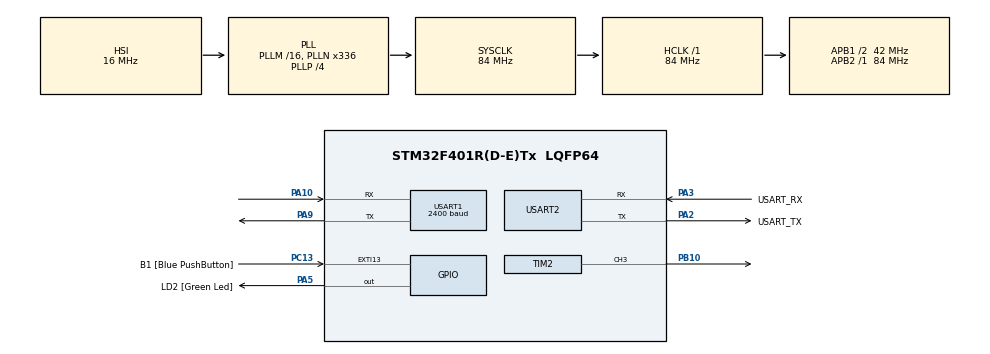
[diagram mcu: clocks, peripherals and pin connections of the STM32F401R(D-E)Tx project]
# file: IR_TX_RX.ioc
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Mcu.Family=STM32F4
Mcu.Name=STM32F401R(D-E)Tx
Mcu.Package=LQFP64
NVIC.PriorityGroup=NVIC_PRIORITYGROUP_4
NVIC.TIM1_UP_TIM10_IRQn=true\:0\:0\:false\:false\:true\:true\:true\:true
NVIC.USART1_IRQn=true\:0\:0\:false\:false\:true\:true\:true\:true
NVIC.USART2_IRQn=true\:0\:0\:false\:false\:true\:true\:true\:true
PA10.Mode=Asynchronous
PA10.Signal=USART1_RX
PA13.GPIO_Label=TMS
PA13.Mode=Trace_Asynchronous_SW
PA13.Signal=SYS_JTMS-SWDIO
PA14.GPIO_Label=TCK
PA14.Mode=Trace_Asynchronous_SW
PA14.Signal=SYS_JTCK-SWCLK
PA2.GPIO_Label=USART_TX
PA2.GPIO_Mode=GPIO_MODE_AF_PP
PA2.GPIO_PuPd=GPIO_NOPULL
PA2.GPIO_Speed=GPIO_SPEED_FREQ_LOW
PA2.Mode=Asynchronous
PA2.Signal=USART2_TX
PA3.GPIO_Label=USART_RX
PA3.GPIO_Mode=GPIO_MODE_AF_PP
PA3.GPIO_PuPd=GPIO_NOPULL
PA3.GPIO_Speed=GPIO_SPEED_FREQ_LOW
PA3.Mode=Asynchronous
PA3.Signal=USART2_RX
PA5.GPIO_Label=LD2 [Green Led]
PA5.GPIO_Mode=GPIO_MODE_OUTPUT_PP
PA5.GPIO_PuPd=GPIO_NOPULL
PA5.GPIO_Speed=GPIO_SPEED_FREQ_LOW
PA5.Signal=GPIO_Output
PA9.Mode=Asynchronous
PA9.Signal=USART1_TX
PB10.Signal=S_TIM2_CH3
PB3.GPIO_Label=SWO
PB3.Mode=Trace_Asynchronous_SW
PB3.Signal=SYS_JTDO-SWO
PC13-ANTI_TAMP.GPIO_Label=B1 [Blue PushButton]
PC13-ANTI_TAMP.GPIO_ModeDefaultEXTI=GPIO_MODE_IT_FALLING
PC13-ANTI_TAMP.GPIO_PuPd=GPIO_NOPULL
PC13-ANTI_TAMP.Signal=GPXTI13
PC14-OSC32_IN.Mode=LSE-External-Oscillator
PC14-OSC32_IN.Signal=RCC_OSC32_IN
PC15-OSC32_OUT.Mode=LSE-External-Oscillator
PC15-OSC32_OUT.Signal=RCC_OSC32_OUT
PH0\ -\ OSC_IN.Mode=HSE-External-Clock-Source
PH0\ -\ OSC_IN.Signal=RCC_OSC_IN
PH1\ -\ OSC_OUT.Mode=HSE-External-Clock-Source
PH1\ -\ OSC_OUT.Signal=RCC_OSC_OUT
ProjectManager.HeapSize=0x200
ProjectManager.StackSize=0x400
ProjectManager.TargetToolchain=STM32CubeIDE
RCC.48MHZClocksFreq_Value=48000000
RCC.AHBFreq_Value=84000000
RCC.APB1CLKDivider=RCC_HCLK_DIV2
RCC.APB1Freq_Value=42000000
RCC.APB1TimFreq_Value=84000000
RCC.APB2Freq_Value=84000000
RCC.APB2TimFreq_Value=84000000
RCC.CortexFreq_Value=84000000
RCC.HCLKFreq_Value=84000000
RCC.HSE_VALUE=8000000
RCC.HSI_VALUE=16000000
RCC.PLLN=336
RCC.PLLP=RCC_PLLP_DIV4
RCC.PLLQ=7
RCC.SYSCLKFreq_VALUE=84000000
RCC.SYSCLKSource=RCC_SYSCLKSOURCE_PLLCLK
RCC.VCOOutputFreq_Value=336000000
SH.S_TIM2_CH3.0=TIM2_CH3,PWM Generation3 CH3
TIM10.Period=3500-1
TIM10.Prescaler=10-1
TIM2.AutoReloadPreload=TIM_AUTORELOAD_PRELOAD_DISABLE
TIM2.Channel-PWM\ Generation3\ CH3=TIM_CHANNEL_3
TIM2.Period=2210
TIM2.Prescaler=0
TIM2.Pulse-PWM\ Generation3\ CH3=1105
USART1.BaudRate=2400
USART1.VirtualMode=VM_ASYNC
USART2.VirtualMode=VM_ASYNC
VP_TIM10_VS_ClockSourceINT.Mode=Enable_Timer
VP_TIM2_VS_ClockSourceINT.Mode=Internal
board=NUCLEO-F401RE

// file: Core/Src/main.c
/* USER CODE BEGIN Header */
/**
  ******************************************************************************
  * @file           : main.c
  * @brief          : Main program body
  ******************************************************************************
  * @attention
  *
  * Copyright (c) 2025 STMicroelectronics.
  * All rights reserved.
  *
  * This software is licensed under terms that can be found in the LICENSE file
  * in the root directory of this software component.
  * If no LICENSE file comes with this software, it is provided AS-IS.
  *
  ******************************************************************************
  */
/* USER CODE END Header */
#include "main.h"

TIM_HandleTypeDef htim2;
TIM_HandleTypeDef htim10;

UART_HandleTypeDef huart1;
UART_HandleTypeDef huart2;

void SystemClock_Config(void);
static void MX_GPIO_Init(void);
static void MX_USART2_UART_Init(void);
static void MX_TIM2_Init(void);
static void MX_USART1_UART_Init(void);
static void MX_TIM10_Init(void);
/* USER CODE BEGIN PFP */
char string[64] = {0}; // Where the character will be stored and outputted
char RX_byte, RX_byte2 = 0; // Received bytes
uint8_t BaudElapsedFlag = 0; // Check if the bit has been sent (during baud duration)
int IR_send = 0;
/* USER CODE END PFP */

/* USER CODE BEGIN 0 */
void HAL_TIM_PeriodElapsedCallback(TIM_HandleTypeDef *htim) {
	if (htim == &htim10)
		BaudElapsedFlag = 1; // Baudrate of 2400 Hz
}

void UART_IR_sendByte(char byte) {
	HAL_TIM_Base_Start_IT(&htim10); // Start the timer10 to control the baudrate
	HAL_TIM_PWM_Start(&htim2, TIM_CHANNEL_3); // send start bit
	BaudElapsedFlag = 0;
	while (BaudElapsedFlag == 0); // Wait the correct baudrate elapse time
	for (int bit_ctr = 0; bit_ctr < 8; bit_ctr++) { // for each bit of the data byte
		if ((byte & (0x01 << bit_ctr)) == 0) // select the correct bit, if is 0 send a 1 with the PWM Start
			HAL_TIM_PWM_Start(&htim2, TIM_CHANNEL_3); // send a 0
		else HAL_TIM_PWM_Stop(&htim2, TIM_CHANNEL_3); // send a 1

		BaudElapsedFlag = 0;
		while (BaudElapsedFlag == 0); // Wait the correct baudrate elapse time
	}

	HAL_TIM_PWM_Stop(&htim2, TIM_CHANNEL_3); // stop bit
	while (BaudElapsedFlag == 0);
	HAL_TIM_Base_Stop_IT(&htim10); // Stop the timer10
	BaudElapsedFlag = 0;
}

void HAL_UART_RxCpltCallback(UART_HandleTypeDef *huart) {
	if (huart == &huart1) {
		HAL_UART_Receive_IT(&huart1, &RX_byte, 1);
		sprintf(&string, "%c", RX_byte);
		HAL_UART_Transmit_IT(&huart2, string, 1);
	}

	if (huart == &huart2) {
		HAL_UART_Receive_IT(&huart2, &RX_byte2, 1);
		IR_send = 1;
	}
}
/* USER CODE END 0 */

int main(void)
{

  /* MCU Configuration--------------------------------------------------------*/

  /* Reset of all peripherals, Initializes the Flash interface and the Systick. */
  HAL_Init();

  /* Configure the system clock */
  SystemClock_Config();

  /* Initialize all configured peripherals */
  MX_GPIO_Init();
  MX_USART2_UART_Init();
  MX_TIM2_Init();
  MX_USART1_UART_Init();
  MX_TIM10_Init();
  /* USER CODE BEGIN 2 */
  HAL_UART_Receive_IT(&huart1, &RX_byte, 1); // Prepare the UART1 to receive data
  HAL_UART_Receive_IT(&huart2, &RX_byte2, 1);
  /* USER CODE END 2 */

  /* Infinite loop */
  /* USER CODE BEGIN WHILE */
  while (1)
  {
	if (IR_send) {
		IR_send = 0;
		UART_IR_sendByte(RX_byte2);
	}
    /* USER CODE END WHILE */

  }
}

void SystemClock_Config(void)
{
  RCC_OscInitTypeDef RCC_OscInitStruct = {0};
  RCC_ClkInitTypeDef RCC_ClkInitStruct = {0};

  /** Configure the main internal regulator output voltage
  */
  __HAL_RCC_PWR_CLK_ENABLE();
  __HAL_PWR_VOLTAGESCALING_CONFIG(PWR_REGULATOR_VOLTAGE_SCALE2);

  /** Initializes the RCC Oscillators according to the specified parameters
  * in the RCC_OscInitTypeDef structure.
  */
  RCC_OscInitStruct.OscillatorType = RCC_OSCILLATORTYPE_HSI;
  RCC_OscInitStruct.HSIState = RCC_HSI_ON;
  RCC_OscInitStruct.HSICalibrationValue = RCC_HSICALIBRATION_DEFAULT;
  RCC_OscInitStruct.PLL.PLLState = RCC_PLL_ON;
  RCC_OscInitStruct.PLL.PLLSource = RCC_PLLSOURCE_HSI;
  RCC_OscInitStruct.PLL.PLLM = 16;
  RCC_OscInitStruct.PLL.PLLN = 336;
  RCC_OscInitStruct.PLL.PLLP = RCC_PLLP_DIV4;
  RCC_OscInitStruct.PLL.PLLQ = 7;
  if (HAL_RCC_OscConfig(&RCC_OscInitStruct) != HAL_OK)
  {
    Error_Handler();
  }

  /** Initializes the CPU, AHB and APB buses clocks
  */
  RCC_ClkInitStruct.ClockType = RCC_CLOCKTYPE_HCLK|RCC_CLOCKTYPE_SYSCLK
                              |RCC_CLOCKTYPE_PCLK1|RCC_CLOCKTYPE_PCLK2;
  RCC_ClkInitStruct.SYSCLKSource = RCC_SYSCLKSOURCE_PLLCLK;
  RCC_ClkInitStruct.AHBCLKDivider = RCC_SYSCLK_DIV1;
  RCC_ClkInitStruct.APB1CLKDivider = RCC_HCLK_DIV2;
  RCC_ClkInitStruct.APB2CLKDivider = RCC_HCLK_DIV1;

  if (HAL_RCC_ClockConfig(&RCC_ClkInitStruct, FLASH_LATENCY_2) != HAL_OK)
  {
    Error_Handler();
  }
}

static void MX_TIM2_Init(void)
{

  TIM_ClockConfigTypeDef sClockSourceConfig = {0};
  TIM_MasterConfigTypeDef sMasterConfig = {0};
  TIM_OC_InitTypeDef sConfigOC = {0};

  htim2.Instance = TIM2;
  htim2.Init.Prescaler = 0;
  htim2.Init.CounterMode = TIM_COUNTERMODE_UP;
  htim2.Init.Period = 2210;
  htim2.Init.ClockDivision = TIM_CLOCKDIVISION_DIV1;
  htim2.Init.AutoReloadPreload = TIM_AUTORELOAD_PRELOAD_DISABLE;
  if (HAL_TIM_Base_Init(&htim2) != HAL_OK)
  {
    Error_Handler();
  }
  sClockSourceConfig.ClockSource = TIM_CLOCKSOURCE_INTERNAL;
  if (HAL_TIM_ConfigClockSource(&htim2, &sClockSourceConfig) != HAL_OK)
  {
    Error_Handler();
  }
  if (HAL_TIM_PWM_Init(&htim2) != HAL_OK)
  {
    Error_Handler();
  }
  sMasterConfig.MasterOutputTrigger = TIM_TRGO_RESET;
  sMasterConfig.MasterSlaveMode = TIM_MASTERSLAVEMODE_DISABLE;
  if (HAL_TIMEx_MasterConfigSynchronization(&htim2, &sMasterConfig) != HAL_OK)
  {
    Error_Handler();
  }
  sConfigOC.OCMode = TIM_OCMODE_PWM1;
  sConfigOC.Pulse = 1105;
  sConfigOC.OCPolarity = TIM_OCPOLARITY_HIGH;
  sConfigOC.OCFastMode = TIM_OCFAST_DISABLE;
  if (HAL_TIM_PWM_ConfigChannel(&htim2, &sConfigOC, TIM_CHANNEL_3) != HAL_OK)
  {
    Error_Handler();
  }
  HAL_TIM_MspPostInit(&htim2);

}

static void MX_TIM10_Init(void)
{

  htim10.Instance = TIM10;
  htim10.Init.Prescaler = 10-1;
  htim10.Init.CounterMode = TIM_COUNTERMODE_UP;
  htim10.Init.Period = 3500-1;
  htim10.Init.ClockDivision = TIM_CLOCKDIVISION_DIV1;
  htim10.Init.AutoReloadPreload = TIM_AUTORELOAD_PRELOAD_DISABLE;
  if (HAL_TIM_Base_Init(&htim10) != HAL_OK)
  {
    Error_Handler();
  }

}

static void MX_USART1_UART_Init(void)
{

  huart1.Instance = USART1;
  huart1.Init.BaudRate = 2400;
  huart1.Init.WordLength = UART_WORDLENGTH_8B;
  huart1.Init.StopBits = UART_STOPBITS_1;
  huart1.Init.Parity = UART_PARITY_NONE;
  huart1.Init.Mode = UART_MODE_TX_RX;
  huart1.Init.HwFlowCtl = UART_HWCONTROL_NONE;
  huart1.Init.OverSampling = UART_OVERSAMPLING_16;
  if (HAL_UART_Init(&huart1) != HAL_OK)
  {
    Error_Handler();
  }

}

static void MX_USART2_UART_Init(void)
{

  huart2.Instance = USART2;
  huart2.Init.BaudRate = 115200;
  huart2.Init.WordLength = UART_WORDLENGTH_8B;
  huart2.Init.StopBits = UART_STOPBITS_1;
  huart2.Init.Parity = UART_PARITY_NONE;
  huart2.Init.Mode = UART_MODE_TX_RX;
  huart2.Init.HwFlowCtl = UART_HWCONTROL_NONE;
  huart2.Init.OverSampling = UART_OVERSAMPLING_16;
  if (HAL_UART_Init(&huart2) != HAL_OK)
  {
    Error_Handler();
  }

}

static void MX_GPIO_Init(void)
{
  GPIO_InitTypeDef GPIO_InitStruct = {0};

  /* GPIO Ports Clock Enable */
  __HAL_RCC_GPIOC_CLK_ENABLE();
  __HAL_RCC_GPIOH_CLK_ENABLE();
  __HAL_RCC_GPIOA_CLK_ENABLE();
  __HAL_RCC_GPIOB_CLK_ENABLE();

  /*Configure GPIO pin Output Level */
  HAL_GPIO_WritePin(LD2_GPIO_Port, LD2_Pin, GPIO_PIN_RESET);

  /*Configure GPIO pin : B1_Pin */
  GPIO_InitStruct.Pin = B1_Pin;
  GPIO_InitStruct.Mode = GPIO_MODE_IT_FALLING;
  GPIO_InitStruct.Pull = GPIO_NOPULL;
  HAL_GPIO_Init(B1_GPIO_Port, &GPIO_InitStruct);

  /*Configure GPIO pin : LD2_Pin */
  GPIO_InitStruct.Pin = LD2_Pin;
  GPIO_InitStruct.Mode = GPIO_MODE_OUTPUT_PP;
  GPIO_InitStruct.Pull = GPIO_NOPULL;
  GPIO_InitStruct.Speed = GPIO_SPEED_FREQ_LOW;
  HAL_GPIO_Init(LD2_GPIO_Port, &GPIO_InitStruct);

}

void Error_Handler(void)
{
  __disable_irq();
  while (1)
  {
  }
}
